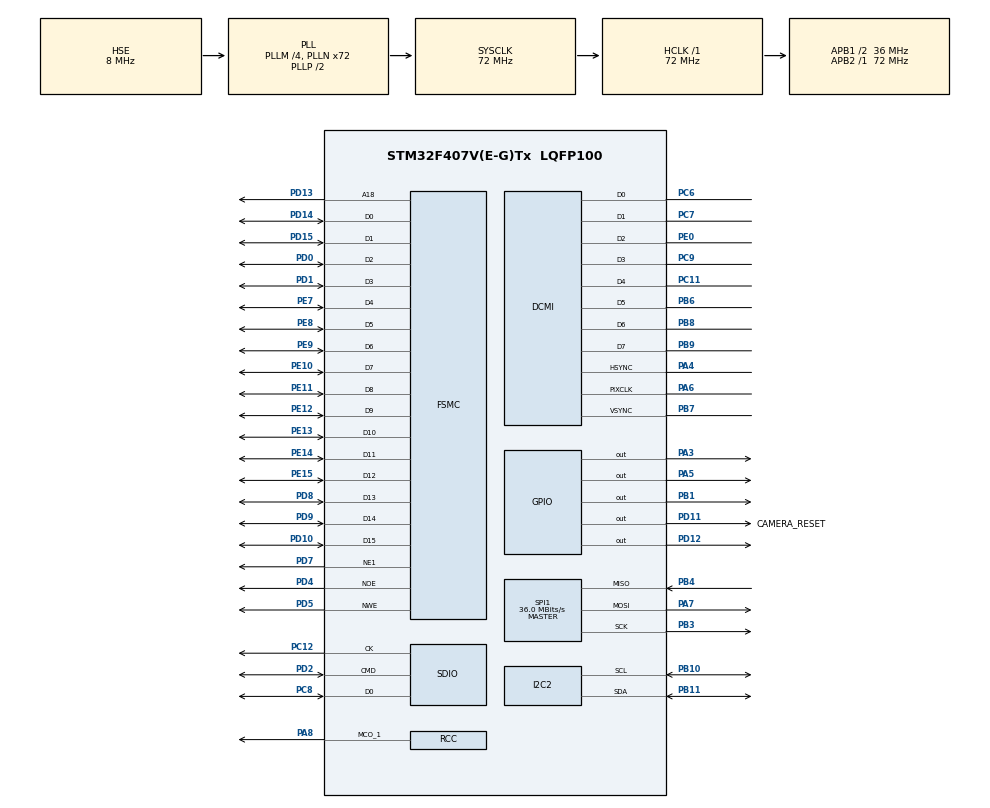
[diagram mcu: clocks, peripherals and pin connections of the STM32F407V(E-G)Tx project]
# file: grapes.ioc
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DCMI.HSPolarity=DCMI_HSPOLARITY_HIGH
DCMI.VSPolarity=DCMI_VSPOLARITY_HIGH
Dma.DCMI.0.Direction=DMA_PERIPH_TO_MEMORY
Dma.DCMI.0.FIFOMode=DMA_FIFOMODE_DISABLE
Dma.DCMI.0.Instance=DMA2_Stream1
Dma.DCMI.0.MemDataAlignment=DMA_MDATAALIGN_WORD
Dma.DCMI.0.MemInc=DMA_MINC_ENABLE
Dma.DCMI.0.Mode=DMA_CIRCULAR
Dma.DCMI.0.PeriphDataAlignment=DMA_PDATAALIGN_WORD
Dma.DCMI.0.PeriphInc=DMA_PINC_DISABLE
Dma.DCMI.0.Priority=DMA_PRIORITY_MEDIUM
Dma.Request0=DCMI
FATFS._MAX_SS=4096
FATFS._USE_LFN=1
FSMC.AddressSetupTime1=1
FSMC.BusTurnAroundDuration1=0
FSMC.DataSetupTime1=5
Mcu.Family=STM32F4
Mcu.Name=STM32F407V(E-G)Tx
Mcu.Package=LQFP100
NVIC.DCMI_IRQn=true\:0\:0\:false\:false\:true\:true\:true\:true
NVIC.DMA2_Stream1_IRQn=true\:0\:0\:false\:false\:true\:false\:true\:true
NVIC.PriorityGroup=NVIC_PRIORITYGROUP_4
PA13.Mode=Serial_Wire
PA13.Signal=SYS_JTMS-SWDIO
PA14.Mode=Serial_Wire
PA14.Signal=SYS_JTCK-SWCLK
PA3.Signal=GPIO_Output
PA4.GPIO_PuPd=GPIO_PULLDOWN
PA4.GPIO_Speed=GPIO_SPEED_FREQ_VERY_HIGH
PA4.Mode=Slave_8_bits_External_Synchro
PA4.Signal=DCMI_HSYNC
PA5.Signal=GPIO_Output
PA6.GPIO_PuPd=GPIO_PULLDOWN
PA6.GPIO_Speed=GPIO_SPEED_FREQ_VERY_HIGH
PA6.Mode=Slave_8_bits_External_Synchro
PA6.Signal=DCMI_PIXCLK
PA7.Mode=Full_Duplex_Master
PA7.Signal=SPI1_MOSI
PA8.Mode=Clock-out-1
PA8.Signal=RCC_MCO_1
PB1.Signal=GPIO_Output
PB10.GPIO_Pu=GPIO_PULLUP
PB10.Mode=I2C
PB10.Signal=I2C2_SCL
PB11.GPIO_Pu=GPIO_PULLUP
PB11.Mode=I2C
PB11.Signal=I2C2_SDA
PB3.Mode=Full_Duplex_Master
PB3.Signal=SPI1_SCK
PB4.Mode=Full_Duplex_Master
PB4.Signal=SPI1_MISO
PB6.GPIO_PuPd=GPIO_PULLDOWN
PB6.GPIO_Speed=GPIO_SPEED_FREQ_VERY_HIGH
PB6.Mode=Slave_8_bits_External_Synchro
PB6.Signal=DCMI_D5
PB7.GPIO_PuPd=GPIO_PULLDOWN
PB7.GPIO_Speed=GPIO_SPEED_FREQ_VERY_HIGH
PB7.Mode=Slave_8_bits_External_Synchro
PB7.Signal=DCMI_VSYNC
PB8.GPIO_PuPd=GPIO_PULLDOWN
PB8.GPIO_Speed=GPIO_SPEED_FREQ_VERY_HIGH
PB8.Mode=Slave_8_bits_External_Synchro
PB8.Signal=DCMI_D6
PB9.GPIO_PuPd=GPIO_PULLDOWN
PB9.GPIO_Speed=GPIO_SPEED_FREQ_VERY_HIGH
PB9.Mode=Slave_8_bits_External_Synchro
PB9.Signal=DCMI_D7
PC11.GPIO_PuPd=GPIO_PULLDOWN
PC11.GPIO_Speed=GPIO_SPEED_FREQ_VERY_HIGH
PC11.Mode=Slave_8_bits_External_Synchro
PC11.Signal=DCMI_D4
PC12.Mode=SD_1_bit
PC12.Signal=SDIO_CK
PC6.GPIO_PuPd=GPIO_PULLDOWN
PC6.GPIO_Speed=GPIO_SPEED_FREQ_VERY_HIGH
PC6.Mode=Slave_8_bits_External_Synchro
PC6.Signal=DCMI_D0
PC7.GPIO_PuPd=GPIO_PULLDOWN
PC7.GPIO_Speed=GPIO_SPEED_FREQ_VERY_HIGH
PC7.Mode=Slave_8_bits_External_Synchro
PC7.Signal=DCMI_D1
PC8.Mode=SD_1_bit
PC8.Signal=SDIO_D0
PC9.GPIO_PuPd=GPIO_PULLDOWN
PC9.GPIO_Speed=GPIO_SPEED_FREQ_VERY_HIGH
PC9.Mode=Slave_8_bits_External_Synchro
PC9.Signal=DCMI_D3
PD0.Mode=16b-d1
PD0.Signal=FSMC_D2
PD1.Mode=16b-d1
PD1.Signal=FSMC_D3
PD10.Mode=16b-d1
PD10.Signal=FSMC_D15
PD11.GPIO_Label=CAMERA_RESET
PD11.Signal=GPIO_Output
PD12.Signal=GPIO_Output
PD13.Mode=A18_1
PD13.Signal=FSMC_A18
PD14.Mode=16b-d1
PD14.Signal=FSMC_D0
PD15.Mode=16b-d1
PD15.Signal=FSMC_D1
PD2.Mode=SD_1_bit
PD2.Signal=SDIO_CMD
PD4.Mode=Lcd1
PD4.Signal=FSMC_NOE
PD5.Mode=Lcd1
PD5.Signal=FSMC_NWE
PD7.Mode=NorPsramChipSelect1_1
PD7.Signal=FSMC_NE1
PD8.Mode=16b-d1
PD8.Signal=FSMC_D13
PD9.Mode=16b-d1
PD9.Signal=FSMC_D14
PE0.GPIO_PuPd=GPIO_PULLDOWN
PE0.GPIO_Speed=GPIO_SPEED_FREQ_VERY_HIGH
PE0.Mode=Slave_8_bits_External_Synchro
PE0.Signal=DCMI_D2
PE10.Mode=16b-d1
PE10.Signal=FSMC_D7
PE11.Mode=16b-d1
PE11.Signal=FSMC_D8
PE12.Mode=16b-d1
PE12.Signal=FSMC_D9
PE13.Mode=16b-d1
PE13.Signal=FSMC_D10
PE14.Mode=16b-d1
PE14.Signal=FSMC_D11
PE15.Mode=16b-d1
PE15.Signal=FSMC_D12
PE7.Mode=16b-d1
PE7.Signal=FSMC_D4
PE8.Mode=16b-d1
PE8.Signal=FSMC_D5
PE9.Mode=16b-d1
PE9.Signal=FSMC_D6
PH0-OSC_IN.Mode=HSE-External-Oscillator
PH0-OSC_IN.Signal=RCC_OSC_IN
PH1-OSC_OUT.Mode=HSE-External-Oscillator
PH1-OSC_OUT.Signal=RCC_OSC_OUT
ProjectManager.HeapSize=0x200
ProjectManager.StackSize=0x400
ProjectManager.TargetToolchain=STM32CubeIDE
RCC.48MHZClocksFreq_Value=48000000
RCC.AHBFreq_Value=72000000
RCC.APB1CLKDivider=RCC_HCLK_DIV2
RCC.APB1Freq_Value=36000000
RCC.APB1TimFreq_Value=72000000
RCC.APB2Freq_Value=72000000
RCC.APB2TimFreq_Value=72000000
RCC.CortexFreq_Value=72000000
RCC.HCLKFreq_Value=72000000
RCC.HSE_VALUE=8000000
RCC.HSI_VALUE=16000000
RCC.LSE_VALUE=32768
RCC.PLLM=4
RCC.PLLN=72
RCC.PLLQ=3
RCC.PLLSourceVirtual=RCC_PLLSOURCE_HSE
RCC.RCC_MCO1Source=RCC_MCO1SOURCE_PLLCLK
RCC.RCC_MCODiv1=RCC_MCODIV_4
RCC.SYSCLKFreq_VALUE=72000000
RCC.SYSCLKSource=RCC_SYSCLKSOURCE_PLLCLK
RCC.VCOOutputFreq_Value=144000000
SPI1.CalculateBaudRate=36.0 MBits/s
SPI1.Direction=SPI_DIRECTION_2LINES
SPI1.Mode=SPI_MODE_MASTER
SPI1.VirtualType=VM_MASTER
VP_FATFS_VS_Generic.Mode=User_defined
board=custom

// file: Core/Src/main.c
/* USER CODE BEGIN Header */
/**
  ******************************************************************************
  * @file           : main.c
  * @brief          : Main program body
  ******************************************************************************
  * @attention
  *
  * Copyright (c) 2024 STMicroelectronics.
  * All rights reserved.
  *
  * This software is licensed under terms that can be found in the LICENSE file
  * in the root directory of this software component.
  * If no LICENSE file comes with this software, it is provided AS-IS.
  *
  ******************************************************************************
  */
/* USER CODE END Header */
#include "main.h"
#include "fatfs.h"
#include "ff.h"
#include "diskio.h"

/* USER CODE BEGIN Includes */
#include "common.h"

#include "lcdIli9341.h"

#include "lcdIli9341Config.h"

#include "ov5640.h"
#include "ov5640_reg.h"
/* USER CODE END Includes */

/* USER CODE BEGIN PM */
#define OV5640_WIDTH  800
#define OV5640_HEIGHT 480
#define BUFFER_COUNT 7
#define BUFFER_SIZE (OV5640_WIDTH * OV5640_HEIGHT / BUFFER_COUNT)

#define FRAME_SIZE (OV5640_WIDTH * OV5640_HEIGHT / BUFFER_COUNT)

#define SD_BLOCK_SIZE 512  // SD card block size

/* USER CODE END PM */

DCMI_HandleTypeDef hdcmi;
DMA_HandleTypeDef hdma_dcmi;

I2C_HandleTypeDef hi2c2;

SD_HandleTypeDef hsd;

SPI_HandleTypeDef hspi1;

SRAM_HandleTypeDef hsram1;

OV5640_Object_t myCamera;

/* USER CODE BEGIN PV */
uint8_t buffer[BUFFER_SIZE];
uint8_t frame_buffer[FRAME_SIZE];

volatile uint32_t write_index = 0;
volatile uint32_t read_index = 0;
volatile uint8_t frame_captured = 0;

/* USER CODE END PV */

void SystemClock_Config(void);
static void MX_GPIO_Init(void);
static void MX_DMA_Init(void);
static void MX_DCMI_Init(void);
static void MX_FSMC_Init(void);
static void MX_I2C2_Init(void);
static void MX_SDIO_SD_Init(void);
static void MX_SPI1_Init(void);

/* USER CODE BEGIN 0 */
// Function to initialize the SD card and mount the file system
void SD_Init(void) {
    if (FATFS_LinkDriver(&USER_Driver, USERPath) == 0) {
        if (f_mount(&USERFatFS, (TCHAR const*)USERPath, 0) != FR_OK) {
            Error_Handler();
        }
    }
}

/* USER CODE END 0 */

int main(void)
{

  /* MCU Configuration--------------------------------------------------------*/

  /* Reset of all peripherals, Initializes the Flash interface and the Systick. */
  HAL_Init();

  /* Configure the system clock */
  SystemClock_Config();

  /* Initialize all configured peripherals */
  MX_GPIO_Init();
  MX_DMA_Init();
  MX_DCMI_Init();
  MX_FSMC_Init();
  MX_I2C2_Init();
  MX_SDIO_SD_Init();
  MX_FATFS_Init();
  MX_SPI1_Init();
  /* USER CODE BEGIN 2 */
  OV5640_Init(&myCamera, OV5640_R800x480, OV5640_JPEG);
  SD_Init();

  HAL_DCMI_Start_DMA(&hdcmi, DCMI_MODE_CONTINUOUS, (uint32_t)buffer, BUFFER_SIZE / 4);

  FIL file;
  UINT bytes_written;
  f_open(&file, "video.raw", FA_CREATE_ALWAYS | FA_WRITE);
  /* USER CODE END 2 */

  /* Infinite loop */
  /* USER CODE BEGIN WHILE */
  while (1)
  {
      if (frame_captured) {
          // Disable interrupts to prevent race conditions
          __disable_irq();

          frame_captured = 0;

          // Copy captured frame to frame buffer
          memcpy(frame_buffer, &buffer[read_index], FRAME_SIZE);
          read_index = (read_index + FRAME_SIZE) % BUFFER_SIZE;

          // Enable interrupts after critical section
          __enable_irq();

          // Write frame buffer to SD card
          if (f_write(&file, frame_buffer, FRAME_SIZE, &bytes_written) != FR_OK) {
              Error_Handler();
          }

          if (bytes_written != FRAME_SIZE) {
              Error_Handler();
          }
      }
  }

  // Ensure the file is closed when exiting the loop
  f_close(&file);
  /* USER CODE END 3 */
}

void SystemClock_Config(void)
{
  RCC_OscInitTypeDef RCC_OscInitStruct = {0};
  RCC_ClkInitTypeDef RCC_ClkInitStruct = {0};

  /** Configure the main internal regulator output voltage
  */
  __HAL_RCC_PWR_CLK_ENABLE();
  __HAL_PWR_VOLTAGESCALING_CONFIG(PWR_REGULATOR_VOLTAGE_SCALE1);

  /** Initializes the RCC Oscillators according to the specified parameters
  * in the RCC_OscInitTypeDef structure.
  */
  RCC_OscInitStruct.OscillatorType = RCC_OSCILLATORTYPE_HSE;
  RCC_OscInitStruct.HSEState = RCC_HSE_ON;
  RCC_OscInitStruct.PLL.PLLState = RCC_PLL_ON;
  RCC_OscInitStruct.PLL.PLLSource = RCC_PLLSOURCE_HSE;
  RCC_OscInitStruct.PLL.PLLM = 4;
  RCC_OscInitStruct.PLL.PLLN = 72;
  RCC_OscInitStruct.PLL.PLLP = RCC_PLLP_DIV2;
  RCC_OscInitStruct.PLL.PLLQ = 3;
  if (HAL_RCC_OscConfig(&RCC_OscInitStruct) != HAL_OK)
  {
    Error_Handler();
  }

  /** Initializes the CPU, AHB and APB buses clocks
  */
  RCC_ClkInitStruct.ClockType = RCC_CLOCKTYPE_HCLK|RCC_CLOCKTYPE_SYSCLK
                              |RCC_CLOCKTYPE_PCLK1|RCC_CLOCKTYPE_PCLK2;
  RCC_ClkInitStruct.SYSCLKSource = RCC_SYSCLKSOURCE_PLLCLK;
  RCC_ClkInitStruct.AHBCLKDivider = RCC_SYSCLK_DIV1;
  RCC_ClkInitStruct.APB1CLKDivider = RCC_HCLK_DIV2;
  RCC_ClkInitStruct.APB2CLKDivider = RCC_HCLK_DIV1;

  if (HAL_RCC_ClockConfig(&RCC_ClkInitStruct, FLASH_LATENCY_2) != HAL_OK)
  {
    Error_Handler();
  }
  HAL_RCC_MCOConfig(RCC_MCO1, RCC_MCO1SOURCE_PLLCLK, RCC_MCODIV_4);
}

static void MX_DCMI_Init(void)
{

	hdcmi.Instance = DCMI;
	hdcmi.Init.SynchroMode = DCMI_SYNCHRO_HARDWARE;
	hdcmi.Init.PCKPolarity = DCMI_PCKPOLARITY_RISING;
	hdcmi.Init.VSPolarity = DCMI_VSPOLARITY_LOW;
	hdcmi.Init.HSPolarity = DCMI_HSPOLARITY_LOW;
	hdcmi.Init.CaptureRate = DCMI_CR_ALL_FRAME;
	hdcmi.Init.ExtendedDataMode = DCMI_EXTEND_DATA_8B;
	hdcmi.Init.JPEGMode = DCMI_JPEG_ENABLE;
	if (HAL_DCMI_Init(&hdcmi) != HAL_OK) {
		Error_Handler();
	}

}

static void MX_I2C2_Init(void)
{

  hi2c2.Instance = I2C2;
  hi2c2.Init.ClockSpeed = 100000;
  hi2c2.Init.DutyCycle = I2C_DUTYCYCLE_2;
  hi2c2.Init.OwnAddress1 = 0;
  hi2c2.Init.AddressingMode = I2C_ADDRESSINGMODE_7BIT;
  hi2c2.Init.DualAddressMode = I2C_DUALADDRESS_DISABLE;
  hi2c2.Init.OwnAddress2 = 0;
  hi2c2.Init.GeneralCallMode = I2C_GENERALCALL_DISABLE;
  hi2c2.Init.NoStretchMode = I2C_NOSTRETCH_DISABLE;
  if (HAL_I2C_Init(&hi2c2) != HAL_OK)
  {
    Error_Handler();
  }

}

static void MX_SDIO_SD_Init(void)
{

  hsd.Instance = SDIO;
  hsd.Init.ClockEdge = SDIO_CLOCK_EDGE_RISING;
  hsd.Init.ClockBypass = SDIO_CLOCK_BYPASS_DISABLE;
  hsd.Init.ClockPowerSave = SDIO_CLOCK_POWER_SAVE_DISABLE;
  hsd.Init.BusWide = SDIO_BUS_WIDE_1B;
  hsd.Init.HardwareFlowControl = SDIO_HARDWARE_FLOW_CONTROL_DISABLE;
  hsd.Init.ClockDiv = 0;
  if (HAL_SD_Init(&hsd) != HAL_OK)
  {
    Error_Handler();
  }

}

static void MX_SPI1_Init(void)
{

  /* SPI1 parameter configuration*/
  hspi1.Instance = SPI1;
  hspi1.Init.Mode = SPI_MODE_MASTER;
  hspi1.Init.Direction = SPI_DIRECTION_2LINES;
  hspi1.Init.DataSize = SPI_DATASIZE_8BIT;
  hspi1.Init.CLKPolarity = SPI_POLARITY_LOW;
  hspi1.Init.CLKPhase = SPI_PHASE_1EDGE;
  hspi1.Init.NSS = SPI_NSS_SOFT;
  hspi1.Init.BaudRatePrescaler = SPI_BAUDRATEPRESCALER_2;
  hspi1.Init.FirstBit = SPI_FIRSTBIT_MSB;
  hspi1.Init.TIMode = SPI_TIMODE_DISABLE;
  hspi1.Init.CRCCalculation = SPI_CRCCALCULATION_DISABLE;
  hspi1.Init.CRCPolynomial = 10;
  if (HAL_SPI_Init(&hspi1) != HAL_OK)
  {
    Error_Handler();
  }

}

static void MX_DMA_Init(void)
{

  /* DMA controller clock enable */
  __HAL_RCC_DMA2_CLK_ENABLE();

  /* DMA interrupt init */
  /* DMA2_Stream1_IRQn interrupt configuration */
  HAL_NVIC_SetPriority(DMA2_Stream1_IRQn, 0, 0);
  HAL_NVIC_EnableIRQ(DMA2_Stream1_IRQn);

}

static void MX_GPIO_Init(void)
{
  GPIO_InitTypeDef GPIO_InitStruct = {0};

  /* GPIO Ports Clock Enable */
  __HAL_RCC_GPIOH_CLK_ENABLE();
  __HAL_RCC_GPIOA_CLK_ENABLE();
  __HAL_RCC_GPIOB_CLK_ENABLE();
  __HAL_RCC_GPIOE_CLK_ENABLE();
  __HAL_RCC_GPIOD_CLK_ENABLE();
  __HAL_RCC_GPIOC_CLK_ENABLE();

  /*Configure GPIO pin Output Level */
  HAL_GPIO_WritePin(GPIOA, GPIO_PIN_3|GPIO_PIN_5, GPIO_PIN_RESET);

  /*Configure GPIO pin Output Level */
  HAL_GPIO_WritePin(GPIOB, GPIO_PIN_1, GPIO_PIN_RESET);

  /*Configure GPIO pin Output Level */
  HAL_GPIO_WritePin(GPIOD, CAMERA_RESET_Pin|GPIO_PIN_12, GPIO_PIN_RESET);

  /*Configure GPIO pins : PA3 PA5 */
  GPIO_InitStruct.Pin = GPIO_PIN_3|GPIO_PIN_5;
  GPIO_InitStruct.Mode = GPIO_MODE_OUTPUT_PP;
  GPIO_InitStruct.Pull = GPIO_NOPULL;
  GPIO_InitStruct.Speed = GPIO_SPEED_FREQ_LOW;
  HAL_GPIO_Init(GPIOA, &GPIO_InitStruct);

  /*Configure GPIO pin : PB1 */
  GPIO_InitStruct.Pin = GPIO_PIN_1;
  GPIO_InitStruct.Mode = GPIO_MODE_OUTPUT_PP;
  GPIO_InitStruct.Pull = GPIO_NOPULL;
  GPIO_InitStruct.Speed = GPIO_SPEED_FREQ_LOW;
  HAL_GPIO_Init(GPIOB, &GPIO_InitStruct);

  /*Configure GPIO pins : CAMERA_RESET_Pin PD12 */
  GPIO_InitStruct.Pin = CAMERA_RESET_Pin|GPIO_PIN_12;
  GPIO_InitStruct.Mode = GPIO_MODE_OUTPUT_PP;
  GPIO_InitStruct.Pull = GPIO_NOPULL;
  GPIO_InitStruct.Speed = GPIO_SPEED_FREQ_LOW;
  HAL_GPIO_Init(GPIOD, &GPIO_InitStruct);

  /*Configure GPIO pin : PA8 */
  GPIO_InitStruct.Pin = GPIO_PIN_8;
  GPIO_InitStruct.Mode = GPIO_MODE_AF_PP;
  GPIO_InitStruct.Pull = GPIO_NOPULL;
  GPIO_InitStruct.Speed = GPIO_SPEED_FREQ_LOW;
  GPIO_InitStruct.Alternate = GPIO_AF0_MCO;
  HAL_GPIO_Init(GPIOA, &GPIO_InitStruct);

}

/* FSMC initialization function */
static void MX_FSMC_Init(void)
{

  FSMC_NORSRAM_TimingTypeDef Timing = {0};

  /** Perform the SRAM1 memory initialization sequence
  */
  hsram1.Instance = FSMC_NORSRAM_DEVICE;
  hsram1.Extended = FSMC_NORSRAM_EXTENDED_DEVICE;
  /* hsram1.Init */
  hsram1.Init.NSBank = FSMC_NORSRAM_BANK1;
  hsram1.Init.DataAddressMux = FSMC_DATA_ADDRESS_MUX_DISABLE;
  hsram1.Init.MemoryType = FSMC_MEMORY_TYPE_SRAM;
  hsram1.Init.MemoryDataWidth = FSMC_NORSRAM_MEM_BUS_WIDTH_16;
  hsram1.Init.BurstAccessMode = FSMC_BURST_ACCESS_MODE_DISABLE;
  hsram1.Init.WaitSignalPolarity = FSMC_WAIT_SIGNAL_POLARITY_LOW;
  hsram1.Init.WrapMode = FSMC_WRAP_MODE_DISABLE;
  hsram1.Init.WaitSignalActive = FSMC_WAIT_TIMING_BEFORE_WS;
  hsram1.Init.WriteOperation = FSMC_WRITE_OPERATION_ENABLE;
  hsram1.Init.WaitSignal = FSMC_WAIT_SIGNAL_DISABLE;
  hsram1.Init.ExtendedMode = FSMC_EXTENDED_MODE_DISABLE;
  hsram1.Init.AsynchronousWait = FSMC_ASYNCHRONOUS_WAIT_DISABLE;
  hsram1.Init.WriteBurst = FSMC_WRITE_BURST_DISABLE;
  hsram1.Init.PageSize = FSMC_PAGE_SIZE_NONE;
  /* Timing */
  Timing.AddressSetupTime = 1;
  Timing.AddressHoldTime = 15;
  Timing.DataSetupTime = 5;
  Timing.BusTurnAroundDuration = 0;
  Timing.CLKDivision = 16;
  Timing.DataLatency = 17;
  Timing.AccessMode = FSMC_ACCESS_MODE_A;
  /* ExtTiming */

  if (HAL_SRAM_Init(&hsram1, &Timing, NULL) != HAL_OK)
  {
    Error_Handler( );
  }

}

void Error_Handler(void)
{
  __disable_irq();
  while (1)
  {
  }
}
